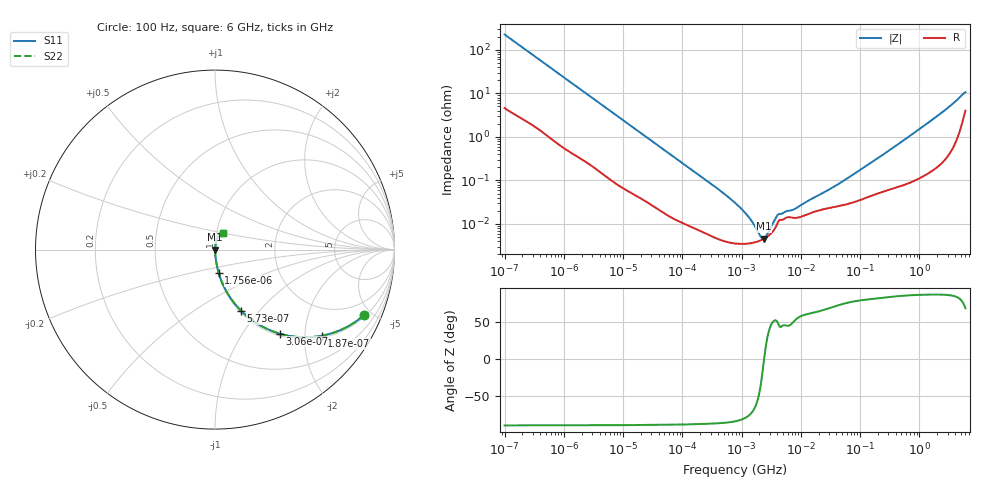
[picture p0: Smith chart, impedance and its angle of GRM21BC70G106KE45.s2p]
!Murata Part Number: GRM21BC70G106KE45
!These Parameters are Measured in Series Mode Connection
!Data Generated on Mar 30, 2021
!  o--ll--o
!Port1  Port2
!  o------o
!Operation Temp=25[degC], DC Bias Voltage=0[V]
!Freq. Start=100[Hz] Stop=6[GHz] 401[Steps]
# Hz S RI R 50
!Freq.(Hz) S11(Real) S11(Imag) S21(Real) S21(Imag) S12(Real) S12(Imag) S22(Real) S22(Imag)
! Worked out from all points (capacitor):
!   401 points, 100 Hz to 6 GHz, reference 50 ohm
!   read as one part in series: C = 7.03 uF near 109 Hz
!   lowest |Z| = 4.57 mohm at 2.373 MHz (marker M1)
!   series resonance near 2.402 MHz, so ESL is about 620 pH
!   S11 on the Smith chart (normalised r, x): 100 Hz: 1.09, -4.51; 187 Hz: 1.05, -2.43; 306 Hz: 1.04, -1.49; 573 Hz: 1.02, -0.81; 1.756 kHz: 1.01, -0.27; 6 GHz: 1.08, +0.20
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100  0.8305 -0.3651  0.1695 0.3651  0.1695 0.3651  0.8305 -0.3651
187  0.5935 -0.4802  0.4065 0.4802  0.4065 0.4802  0.5935 -0.4802
306  0.3616 -0.4686  0.6384 0.4686  0.6384 0.4686  0.3616 -0.4686
573  0.146 -0.3413  0.854 0.3413  0.854 0.3413  0.146 -0.3413
938  0.0629 -0.2313  0.9371 0.2313  0.9371 0.2313  0.0629 -0.2313
1756  0.0208 -0.1306  0.9792 0.1306  0.9792 0.1306  0.0208 -0.1306
2008  0.0165 -0.115  0.9835 0.115  0.9835 0.115  0.0165 -0.115
6433  0.00237 -0.0372  0.9976 0.0372  0.9976 0.0372  0.00237 -0.0372
40335  0.000247 -0.00615  0.9998 0.00615  0.9998 0.00615  0.000247 -0.00615
330837  5.08e-05 -0.000771  0.9999 0.000771  0.9999 0.000771  5.08e-05 -0.000771
774597  3.56e-05 -0.000304  1 0.000304  1 0.000304  3.56e-05 -0.000304
1108252  3.48e-05 -0.000187  1 0.000187  1 0.000187  3.48e-05 -0.000187
1585629  3.71e-05 -9.41e-05  1 9.41e-05  1 9.41e-05  3.71e-05 -9.41e-05
2372521  4.56e-05 -2.7e-06  1 2.7e-06  1 2.7e-06  4.56e-05 -2.7e-06
3245845  6.31e-05 6.92e-05  0.9999 -6.92e-05  0.9999 -6.92e-05  6.31e-05 6.92e-05
4246196  0.000119 0.000121  0.9999 -0.000121  0.9999 -0.000121  0.000119 0.000121
7947587  0.000138 0.000174  0.9999 -0.000174  0.9999 -0.000174  0.000138 0.000174
1.555665e7  0.000183 0.000337  0.9998 -0.000337  0.9998 -0.000337  0.000183 0.000337
4.764863e7  0.000264 0.00086  0.9997 -0.00086  0.9997 -0.00086  0.000264 0.00086
3.124326e8  0.000634 0.00488  0.9994 -0.00488  0.9994 -0.00488  0.000634 0.00488
2.048624e9  0.00299 0.0305  0.997 -0.0305  0.997 -0.0305  0.00299 0.0305
6e9  0.0471 0.0904  0.9529 -0.0904  0.9529 -0.0904  0.0471 0.0904
